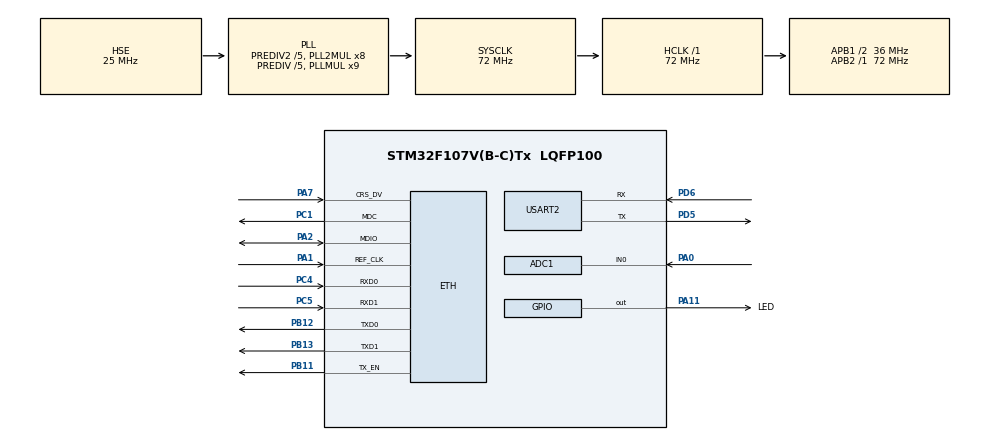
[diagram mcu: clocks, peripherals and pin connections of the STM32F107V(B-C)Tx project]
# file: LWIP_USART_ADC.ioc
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ADC1.Channel-4\#ChannelRegularConversion=ADC_CHANNEL_0
ADC1.ContinuousConvMode=DISABLE
ADC1.DataAlign=ADC_DATAALIGN_LEFT
ADC1.DiscontinuousConvMode=DISABLE
ADC1.EnableAnalogWatchDog=false
ADC1.EnableRegularConversion=ENABLE
ADC1.ExternalTrigConv=ADC_EXTERNALTRIGCONV_T3_TRGO
ADC1.InjNumberOfConversion=0
ADC1.NbrOfConversion=1
ADC1.NbrOfConversionFlag=1
ADC1.Rank-4\#ChannelRegularConversion=1
ADC1.SamplingTime-4\#ChannelRegularConversion=ADC_SAMPLETIME_1CYCLE_5
ADC1.ScanConvMode=ADC_SCAN_DISABLE
ADC1.master=1
Dma.ADC1.0.Direction=DMA_PERIPH_TO_MEMORY
Dma.ADC1.0.Instance=DMA1_Channel1
Dma.ADC1.0.MemDataAlignment=DMA_MDATAALIGN_HALFWORD
Dma.ADC1.0.MemInc=DMA_MINC_ENABLE
Dma.ADC1.0.Mode=DMA_CIRCULAR
Dma.ADC1.0.PeriphDataAlignment=DMA_PDATAALIGN_HALFWORD
Dma.ADC1.0.PeriphInc=DMA_PINC_DISABLE
Dma.ADC1.0.Priority=DMA_PRIORITY_MEDIUM
Dma.Request0=ADC1
ETH.MediaInterface=ETH_MEDIA_INTERFACE_RMII
FREERTOS.INCLUDE_uxTaskPriorityGet=0
FREERTOS.INCLUDE_vTaskDelay=0
FREERTOS.INCLUDE_vTaskDelete=0
FREERTOS.INCLUDE_vTaskPrioritySet=0
FREERTOS.INCLUDE_vTaskSuspend=0
FREERTOS.INCLUDE_xTaskResumeFromISR=0
FREERTOS.Queues01=DMA_Ethernet_Queue,64,uint16_t,0,Dynamic,NULL,NULL
FREERTOS.Tasks01=defaultTask,0,512,StartDefaultTask,Default,NULL,Dynamic,NULL,NULL
FREERTOS.configENABLE_BACKWARD_COMPATIBILITY=0
FREERTOS.configTOTAL_HEAP_SIZE=30000
LWIP.GATEWAY_ADDRESS=010.001.001.001
LWIP.IP_ADDRESS=010.001.001.002
LWIP.LWIP_DHCP=0
LWIP.LWIP_UDP=0
LWIP.NETMASK_ADDRESS=255.255.255.000
LWIP.PBUF_POOL_BUFSIZE=200
LWIP.Version=v2.0.0_Cube
Mcu.Family=STM32F1
Mcu.Name=STM32F107V(B-C)Tx
Mcu.Package=LQFP100
NVIC.DMA1_Channel1_IRQn=true\:5\:0\:false\:false\:true\:true\:false
NVIC.ETH_IRQn=true\:5\:0\:false\:false\:true\:true\:false
NVIC.PriorityGroup=NVIC_PRIORITYGROUP_4
NVIC.TIM3_IRQn=true\:5\:0\:false\:false\:true\:true\:true
OSC_IN.Mode=HSE-External-Oscillator
OSC_IN.Signal=RCC_OSC_IN
OSC_OUT.Mode=HSE-External-Oscillator
OSC_OUT.Signal=RCC_OSC_OUT
PA0-WKUP.Signal=ADCx_IN0
PA1.Mode=RMII
PA1.Signal=ETH_REF_CLK
PA11.GPIO_Label=LED
PA11.Signal=GPIO_Output
PA13.Mode=Serial_Wire
PA13.Signal=SYS_JTMS-SWDIO
PA14.Mode=Serial_Wire
PA14.Signal=SYS_JTCK-SWCLK
PA2.Mode=RMII
PA2.Signal=ETH_MDIO
PA7.Mode=RMII
PA7.Signal=ETH_CRS_DV
PB11.Mode=RMII
PB11.Signal=ETH_TX_EN
PB12.Mode=RMII
PB12.Signal=ETH_TXD0
PB13.Mode=RMII
PB13.Signal=ETH_TXD1
PC1.Mode=RMII
PC1.Signal=ETH_MDC
PC14-OSC32_IN.Mode=LSE-External-Oscillator
PC14-OSC32_IN.Signal=RCC_OSC32_IN
PC15-OSC32_OUT.Mode=LSE-External-Oscillator
PC15-OSC32_OUT.Signal=RCC_OSC32_OUT
PC4.Mode=RMII
PC4.Signal=ETH_RXD0
PC5.Mode=RMII
PC5.Signal=ETH_RXD1
PD5.Mode=Asynchronous
PD5.Signal=USART2_TX
PD6.Mode=Asynchronous
PD6.Signal=USART2_RX
ProjectManager.HeapSize=0x200
ProjectManager.StackSize=0x400
ProjectManager.TargetToolchain=SW4STM32
RCC.ADCPresc=RCC_ADCPCLK2_DIV6
RCC.AHBFreq_Value=72000000
RCC.APB1CLKDivider=RCC_HCLK_DIV2
RCC.APB1Freq_Value=36000000
RCC.APB1TimFreq_Value=72000000
RCC.APB2Freq_Value=72000000
RCC.APB2TimFreq_Value=72000000
RCC.HCLKFreq_Value=72000000
RCC.HSEDivPLL=RCC_HSE_PREDIV_DIV5
RCC.HSE_VALUE=25000000
RCC.PLLMUL=RCC_PLL_MUL9
RCC.PLLSourceVirtual=RCC_PLLSOURCE_HSE
RCC.Prediv1Source=RCC_PREDIV1_SOURCE_PLL2
RCC.Prediv2=RCC_HSE_PREDIV2_DIV5
RCC.SYSCLKFreq_VALUE=72000000
RCC.SYSCLKSource=RCC_SYSCLKSOURCE_PLLCLK
RCC.USBFreq_Value=48000000
SH.ADCx_IN0.0=ADC1_IN0,IN0
TIM3.Period=8
TIM3.Prescaler=35999
TIM3.TIM_MasterOutputTrigger=TIM_TRGO_UPDATE
USART2.VirtualMode=VM_ASYNC
VP_FREERTOS_VS_ENABLE.Mode=Enabled
VP_LWIP_VS_Enabled.Mode=Enabled
VP_TIM3_VS_ClockSourceINT.Mode=Internal
board=custom

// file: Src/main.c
/**
  ******************************************************************************
  * @file           : main.c
  * @brief          : Main program body
  ******************************************************************************
  * This notice applies to any and all portions of this file
  * that are not between comment pairs USER CODE BEGIN and
  * USER CODE END. Other portions of this file, whether
  * inserted by the user or by software development tools
  * are owned by their respective copyright owners.
  *
  * Copyright (c) 2018 STMicroelectronics International N.V.
  * All rights reserved.
  *
  * Redistribution and use in source and binary forms, with or without
  * modification, are permitted, provided that the following conditions are met:
  *
  * 1. Redistribution of source code must retain the above copyright notice,
  *    this list of conditions and the following disclaimer.
  * 2. Redistributions in binary form must reproduce the above copyright notice,
  *    this list of conditions and the following disclaimer in the documentation
  *    and/or other materials provided with the distribution.
  * 3. Neither the name of STMicroelectronics nor the names of other
  *    contributors to this software may be used to endorse or promote products
  *    derived from this software without specific written permission.
  * 4. This software, including modifications and/or derivative works of this
  *    software, must execute solely and exclusively on microcontroller or
  *    microprocessor devices manufactured by or for STMicroelectronics.
  * 5. Redistribution and use of this software other than as permitted under
  *    this license is void and will automatically terminate your rights under
  *    this license.
  *
  * THIS SOFTWARE IS PROVIDED BY STMICROELECTRONICS AND CONTRIBUTORS "AS IS"
  * AND ANY EXPRESS, IMPLIED OR STATUTORY WARRANTIES, INCLUDING, BUT NOT
  * LIMITED TO, THE IMPLIED WARRANTIES OF MERCHANTABILITY, FITNESS FOR A
  * PARTICULAR PURPOSE AND NON-INFRINGEMENT OF THIRD PARTY INTELLECTUAL PROPERTY
  * RIGHTS ARE DISCLAIMED TO THE FULLEST EXTENT PERMITTED BY LAW. IN NO EVENT
  * SHALL STMICROELECTRONICS OR CONTRIBUTORS BE LIABLE FOR ANY DIRECT, INDIRECT,
  * INCIDENTAL, SPECIAL, EXEMPLARY, OR CONSEQUENTIAL DAMAGES (INCLUDING, BUT NOT
  * LIMITED TO, PROCUREMENT OF SUBSTITUTE GOODS OR SERVICES; LOSS OF USE, DATA,
  * OR PROFITS; OR BUSINESS INTERRUPTION) HOWEVER CAUSED AND ON ANY THEORY OF
  * LIABILITY, WHETHER IN CONTRACT, STRICT LIABILITY, OR TORT (INCLUDING
  * NEGLIGENCE OR OTHERWISE) ARISING IN ANY WAY OUT OF THE USE OF THIS SOFTWARE,
  * EVEN IF ADVISED OF THE POSSIBILITY OF SUCH DAMAGE.
  *
  ******************************************************************************
  */
#include "main.h"
#include "stm32f1xx_hal.h"
#include "cmsis_os.h"
#include "lwip.h"

/* USER CODE BEGIN Includes */
#include "string.h"
#include "lwip/api.h"
/* USER CODE END Includes */

ADC_HandleTypeDef hadc1;
DMA_HandleTypeDef hdma_adc1;

TIM_HandleTypeDef htim3;

UART_HandleTypeDef huart2;

osThreadId defaultTaskHandle;
osMessageQId DMA_Ethernet_QueueHandle;

/* USER CODE BEGIN PV */
/* Private variables ---------------------------------------------------------*/
volatile uint16_t ADC_Data[128]; //2*1KB
/* USER CODE END PV */

void SystemClock_Config(void);

static void MX_GPIO_Init(void);

static void MX_DMA_Init(void);

static void MX_ADC1_Init(void);

static void MX_USART2_UART_Init(void);

static void MX_TIM3_Init(void);

void StartDefaultTask(void const *argument);

/* USER CODE BEGIN PFP */
/* Private function prototypes -----------------------------------------------*/
#define printf(format) sprintf (pbuffer, format);HAL_UART_Transmit(&huart2, pbuffer, strlen(pbuffer), 0xFFFF)
#define aprintf(format, ...) sprintf (pbuffer, format, __VA_ARGS__);HAL_UART_Transmit(&huart2, pbuffer, strlen(pbuffer), 0xFFFF)
/* USER CODE END PFP */

/* USER CODE BEGIN 0 */
osThreadId netTaskHandle;
void StartNetTask(void const *argument);

/* USER CODE END 0 */

int main(void) {

	/* MCU Configuration----------------------------------------------------------*/

	/* Reset of all peripherals, Initializes the Flash interface and the Systick. */
	HAL_Init();

	/* Configure the system clock */
	SystemClock_Config();

	/* Initialize all configured peripherals */
	MX_GPIO_Init();
	MX_DMA_Init();
	MX_ADC1_Init();
	MX_USART2_UART_Init();
	MX_TIM3_Init();

	/* Create the thread(s) */
	/* definition and creation of defaultTask */
	osThreadDef(defaultTask, StartDefaultTask, osPriorityNormal, 0, 512);
	defaultTaskHandle = osThreadCreate(osThread(defaultTask), NULL);

	/* Create the queue(s) */
	/* definition and creation of DMA_Ethernet_Queue */
/* what about the sizeof here??? cd native code */
	osMessageQDef(DMA_Ethernet_Queue, 64, uint16_t);
	DMA_Ethernet_QueueHandle = osMessageCreate(osMessageQ(DMA_Ethernet_Queue), NULL);

	/* Start scheduler */
	osKernelStart();

	/* We should never get here as control is now taken by the scheduler */

	/* Infinite loop */
	while (1) {

	}

}

void SystemClock_Config(void) {

	RCC_OscInitTypeDef RCC_OscInitStruct;
	RCC_ClkInitTypeDef RCC_ClkInitStruct;
	RCC_PeriphCLKInitTypeDef PeriphClkInit;

	/**Initializes the CPU, AHB and APB busses clocks
	*/
	RCC_OscInitStruct.OscillatorType = RCC_OSCILLATORTYPE_HSE;
	RCC_OscInitStruct.HSEState = RCC_HSE_ON;
	RCC_OscInitStruct.HSEPredivValue = RCC_HSE_PREDIV_DIV5;
	RCC_OscInitStruct.HSIState = RCC_HSI_ON;
	RCC_OscInitStruct.Prediv1Source = RCC_PREDIV1_SOURCE_PLL2;
	RCC_OscInitStruct.PLL.PLLState = RCC_PLL_ON;
	RCC_OscInitStruct.PLL.PLLSource = RCC_PLLSOURCE_HSE;
	RCC_OscInitStruct.PLL.PLLMUL = RCC_PLL_MUL9;
	RCC_OscInitStruct.PLL2.PLL2State = RCC_PLL2_ON;
	RCC_OscInitStruct.PLL2.PLL2MUL = RCC_PLL2_MUL8;
	RCC_OscInitStruct.PLL2.HSEPrediv2Value = RCC_HSE_PREDIV2_DIV5;
	if (HAL_RCC_OscConfig(&RCC_OscInitStruct) != HAL_OK) {
		_Error_Handler(__FILE__, __LINE__);
	}

	/**Initializes the CPU, AHB and APB busses clocks
	*/
	RCC_ClkInitStruct.ClockType = RCC_CLOCKTYPE_HCLK | RCC_CLOCKTYPE_SYSCLK
								  | RCC_CLOCKTYPE_PCLK1 | RCC_CLOCKTYPE_PCLK2;
	RCC_ClkInitStruct.SYSCLKSource = RCC_SYSCLKSOURCE_PLLCLK;
	RCC_ClkInitStruct.AHBCLKDivider = RCC_SYSCLK_DIV1;
	RCC_ClkInitStruct.APB1CLKDivider = RCC_HCLK_DIV2;
	RCC_ClkInitStruct.APB2CLKDivider = RCC_HCLK_DIV1;

	if (HAL_RCC_ClockConfig(&RCC_ClkInitStruct, FLASH_LATENCY_2) != HAL_OK) {
		_Error_Handler(__FILE__, __LINE__);
	}

	PeriphClkInit.PeriphClockSelection = RCC_PERIPHCLK_ADC;
	PeriphClkInit.AdcClockSelection = RCC_ADCPCLK2_DIV6;
	if (HAL_RCCEx_PeriphCLKConfig(&PeriphClkInit) != HAL_OK) {
		_Error_Handler(__FILE__, __LINE__);
	}

	/**Configure the Systick interrupt time
	*/
	HAL_SYSTICK_Config(HAL_RCC_GetHCLKFreq() / 1000);

	/**Configure the Systick
	*/
	HAL_SYSTICK_CLKSourceConfig(SYSTICK_CLKSOURCE_HCLK);

	/**Configure the Systick interrupt time
	*/
	__HAL_RCC_PLLI2S_ENABLE();

	/* SysTick_IRQn interrupt configuration */
	HAL_NVIC_SetPriority(SysTick_IRQn, 15, 0);
}

/* ADC1 init function */
static void MX_ADC1_Init(void) {

	ADC_ChannelConfTypeDef sConfig;

	/**Common config
	*/
	hadc1.Instance = ADC1;
	hadc1.Init.ScanConvMode = ADC_SCAN_DISABLE;
	hadc1.Init.ContinuousConvMode = DISABLE;
	hadc1.Init.DiscontinuousConvMode = DISABLE;
	hadc1.Init.ExternalTrigConv = ADC_EXTERNALTRIGCONV_T3_TRGO;
	hadc1.Init.DataAlign = ADC_DATAALIGN_LEFT;
	hadc1.Init.NbrOfConversion = 1;
	if (HAL_ADC_Init(&hadc1) != HAL_OK) {
		_Error_Handler(__FILE__, __LINE__);
	}

	/**Configure Regular Channel
	*/
	sConfig.Channel = ADC_CHANNEL_0;
	sConfig.Rank = ADC_REGULAR_RANK_1;
	sConfig.SamplingTime = ADC_SAMPLETIME_1CYCLE_5;
	if (HAL_ADC_ConfigChannel(&hadc1, &sConfig) != HAL_OK) {
		_Error_Handler(__FILE__, __LINE__);
	}

}

/* TIM3 init function */
static void MX_TIM3_Init(void) {

	TIM_ClockConfigTypeDef sClockSourceConfig;
	TIM_MasterConfigTypeDef sMasterConfig;

	htim3.Instance = TIM3;
	htim3.Init.Prescaler = 1124; //72000k/(1124+1)=64k per sec
	htim3.Init.CounterMode = TIM_COUNTERMODE_UP;
	htim3.Init.Period = 4; //16k per sec
	htim3.Init.ClockDivision = TIM_CLOCKDIVISION_DIV1;
	htim3.Init.AutoReloadPreload = TIM_AUTORELOAD_PRELOAD_DISABLE;
	if (HAL_TIM_Base_Init(&htim3) != HAL_OK) {
		_Error_Handler(__FILE__, __LINE__);
	}

	sClockSourceConfig.ClockSource = TIM_CLOCKSOURCE_INTERNAL;
	if (HAL_TIM_ConfigClockSource(&htim3, &sClockSourceConfig) != HAL_OK) {
		_Error_Handler(__FILE__, __LINE__);
	}

	sMasterConfig.MasterOutputTrigger = TIM_TRGO_UPDATE;
	sMasterConfig.MasterSlaveMode = TIM_MASTERSLAVEMODE_DISABLE;
	if (HAL_TIMEx_MasterConfigSynchronization(&htim3, &sMasterConfig) != HAL_OK) {
		_Error_Handler(__FILE__, __LINE__);
	}

}

/* USART2 init function */
static void MX_USART2_UART_Init(void) {

	huart2.Instance = USART2;
	huart2.Init.BaudRate = 115200;
	huart2.Init.WordLength = UART_WORDLENGTH_8B;
	huart2.Init.StopBits = UART_STOPBITS_1;
	huart2.Init.Parity = UART_PARITY_NONE;
	huart2.Init.Mode = UART_MODE_TX_RX;
	huart2.Init.HwFlowCtl = UART_HWCONTROL_NONE;
	huart2.Init.OverSampling = UART_OVERSAMPLING_16;
	if (HAL_UART_Init(&huart2) != HAL_OK) {
		_Error_Handler(__FILE__, __LINE__);
	}

}

static void MX_DMA_Init(void) {
	/* DMA controller clock enable */
	__HAL_RCC_DMA1_CLK_ENABLE();

	/* DMA interrupt init */
	/* DMA1_Channel1_IRQn interrupt configuration */
	HAL_NVIC_SetPriority(DMA1_Channel1_IRQn, 5, 0);
	HAL_NVIC_EnableIRQ(DMA1_Channel1_IRQn);

}

/** Configure pins as
        * Analog
        * Input
        * Output
        * EVENT_OUT
        * EXTI
*/
static void MX_GPIO_Init(void) {

	GPIO_InitTypeDef GPIO_InitStruct;

	/* GPIO Ports Clock Enable */
	__HAL_RCC_GPIOC_CLK_ENABLE();
	__HAL_RCC_GPIOA_CLK_ENABLE();
	__HAL_RCC_GPIOB_CLK_ENABLE();
	__HAL_RCC_GPIOD_CLK_ENABLE();

	/*Configure GPIO pin Output Level */
	HAL_GPIO_WritePin(LED_GPIO_Port, LED_Pin, GPIO_PIN_RESET);

	/*Configure GPIO pin : LED_Pin */
	GPIO_InitStruct.Pin = LED_Pin;
	GPIO_InitStruct.Mode = GPIO_MODE_OUTPUT_PP;
	GPIO_InitStruct.Pull = GPIO_NOPULL;
	GPIO_InitStruct.Speed = GPIO_SPEED_FREQ_LOW;
	HAL_GPIO_Init(LED_GPIO_Port, &GPIO_InitStruct);

}

/* USER CODE BEGIN 4 */
void HAL_ADC_ConvHalfCpltCallback(ADC_HandleTypeDef *hadc) {
	for (int i = 0; i < 64; ++i) {
		osMessagePut(DMA_Ethernet_QueueHandle, ADC_Data[i], 0);
	}
}

void HAL_ADC_ConvCpltCallback(ADC_HandleTypeDef *hadc) {
	for (int i = 64; i < 128; ++i) {
		osMessagePut(DMA_Ethernet_QueueHandle, ADC_Data[i], 0);
	}

}
/* USER CODE END 4 */

/* StartDefaultTask function */
void StartDefaultTask(void const *argument) {
	/* init code for LWIP */
	MX_LWIP_Init();

	/* USER CODE BEGIN 5 */
	char *pbuffer = pvPortMalloc(200);
	struct neconn *nc;
	struct neconn *in_nc;
	struct netbuf *nb;
	volatile err_t res;
	uint16_t len;
	ip_addr_t local_ip;
	ip_addr_t remote_ip;
	ip4addr_aton("10.1.1.2", &local_ip);
	ip4addr_aton("10.1.1.1", &remote_ip);
	char *buffer = pvPortMalloc(2048);

	/*//MCU as client WORKS:!!!
	 nc = netconn_new(NETCONN_TCP);
	if (nc == NULL) {
		printf("new error\r\n");
		while (1) osDelay(1);
	}

	res = netconn_bind(nc, &local_ip, 0);
	if (res != 0) {
		aprintf("bind error: %d\r\n", res);
		while (1) osDelay(1);
	}

	res = netconn_connect(nc, &remote_ip, 3000);
	if (res != 0) {
		aprintf("connect error: %d\r\n", res);
		while (1) osDelay(1);
	}

	sprintf(buffer, "\r\n");
	res = netconn_write(nc, buffer, strlen(buffer), NETCONN_COPY);
	if (res != 0) {
		aprintf("write error: %d\r\n", res);
		while (1) osDelay(1);
	}

	res = netconn_recv(nc, &nb);
	if (res != 0) {
		aprintf("recv error: %d\r\n", res);
		while (1) osDelay(1);
	}

	len = netbuf_len(nb);
	netbuf_copy(nb, buffer, len);
	netbuf_delete(nb);
	buffer[len] = 0;
	aprintf("Received %d bytes:\r\n%s\r\n", len, buffer);
	netconn_close(nc);
	netconn_delete(nc);
//sprintf writes into self
	printf("Client sequence completed successful!\r\n");
	 */
//As server works!!))

//	aprintf("%d", SystemCoreClock);
	nc = netconn_new(NETCONN_TCP);
	if (nc == NULL) {
		aprintf("new error: %d\r\n", res);
		while (1) osDelay(1);
	}

	res = netconn_bind(nc, IP_ADDR_ANY, 3081);
	if (res != 0) {
		aprintf("bind error: %d\r\n", res);
		while (1) osDelay(1);
	}

	res = netconn_listen(nc);
	if (res != 0) {
		aprintf("listen error: %d\r\n", res);
		while (1) osDelay(1);
	}
	//Infinite loop
	for (;;) {
		res = netconn_accept(nc, &in_nc);
		if (res != 0) {
			aprintf("listen error: %d\r\n", res);
		} else {
			osThreadDef(netTask, StartNetTask, osPriorityNormal, 0, 256);
			netTaskHandle = osThreadCreate(osThread(netTask), (void *) in_nc);
		}
//		HAL_GPIO_WritePin(LED_GPIO_Port, LED_Pin, GPIO_PIN_RESET);
//		osDelay(300);
//		HAL_GPIO_WritePin(LED_GPIO_Port, LED_Pin, GPIO_PIN_SET);
//		osDelay(300);
	}
	/* USER CODE END 5 */
}

/* StartNetTask function */
void StartNetTask(void const *argument) {
	/* USER CODE BEGIN StartNetTask */
	struct netconn *nc = (struct netconn *) argument;
	struct netbuf *nb;
	char *buffer = pvPortMalloc(2048);
	char *pbuffer = pvPortMalloc(200);
	uint16_t len;
//	printf("Incoming connection\r\n");
	HAL_TIM_Base_Start_IT(&htim3);
	HAL_ADC_Start_DMA(&hadc1, (uint32_t *) &ADC_Data, 128);
//	int ad = DMA1_Channel1->CCR;
//	int ad2 = ADC1->CR2;

	osEvent event;
	int nul=0;
	for (;;) {
		event = osMessageGet(DMA_Ethernet_QueueHandle, 0);
//		sprintf(buffer, "Event %x!\r\n", event.status);
//		netconn_write(nc, buffer, strlen(buffer), NETCONN_COPY);
		if (event.status == osEventMessage) {
			netconn_write(nc, &nul, event.value.p, NETCONN_COPY); //1KB
		} else{
			HAL_GPIO_TogglePin(LED_GPIO_Port, LED_Pin);
		}
	}
	/* USER CODE END StartNetTask */
}

void _Error_Handler(char *file, int line) {
	while (1) {
	}
}

/************************ (C) COPYRIGHT STMicroelectronics *****END OF FILE****/
